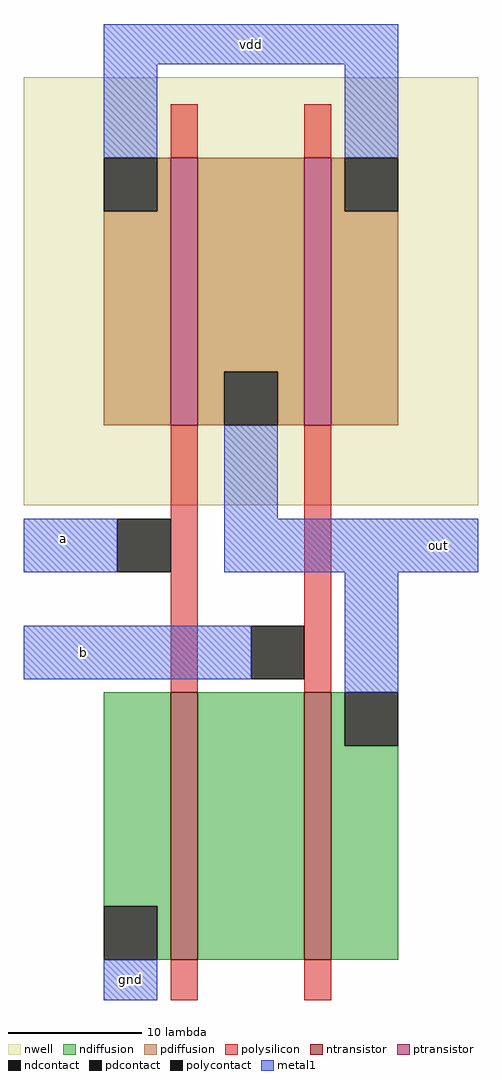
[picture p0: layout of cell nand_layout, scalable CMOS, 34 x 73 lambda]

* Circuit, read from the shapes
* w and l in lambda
.subckt nand_layout a b gnd out vdd
M1 n1 a gnd VSUBS nfet w=20 l=2
M2 out b n1 VSUBS nfet w=20 l=2
M3 out a vdd n2 pfet w=20 l=2
M4 vdd b out n2 pfet w=20 l=2
.ends

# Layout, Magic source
magic
tech scmos
<< nwell >>
rect 0 0 34 32
<< ntransistor >>
rect 11 -34 13 -14
rect 21 -34 23 -14
<< ptransistor >>
rect 11 6 13 26
rect 21 6 23 26
<< ndiffusion >>
rect 6 -30 11 -14
rect 10 -34 11 -30
rect 13 -34 21 -14
rect 23 -18 24 -14
rect 23 -34 28 -18
<< pdiffusion >>
rect 10 22 11 26
rect 6 6 11 22
rect 13 10 21 26
rect 13 6 15 10
rect 19 6 21 10
rect 23 22 24 26
rect 23 6 28 22
<< ndcontact >>
rect 6 -34 10 -30
rect 24 -18 28 -14
<< pdcontact >>
rect 6 22 10 26
rect 15 6 19 10
rect 24 22 28 26
<< polysilicon >>
rect 11 26 13 30
rect 21 26 23 30
rect 11 -14 13 6
rect 21 -14 23 6
rect 11 -37 13 -34
rect 21 -37 23 -34
<< polycontact >>
rect 7 -5 11 -1
rect 17 -13 21 -9
<< metal1 >>
rect 6 33 28 36
rect 6 26 10 33
rect 24 26 28 33
rect 15 -1 19 6
rect 0 -5 7 -1
rect 15 -5 34 -1
rect 0 -13 17 -9
rect 24 -14 28 -5
rect 6 -37 10 -34
<< labels >>
rlabel metal1 16 34 18 35 5 vdd
rlabel metal1 2 -3 4 -2 3 a
rlabel metal1 4 -12 5 -10 3 b
rlabel metal1 30 -4 32 -2 1 out
rlabel metal1 7 -36 9 -35 1 gnd
<< end >>
